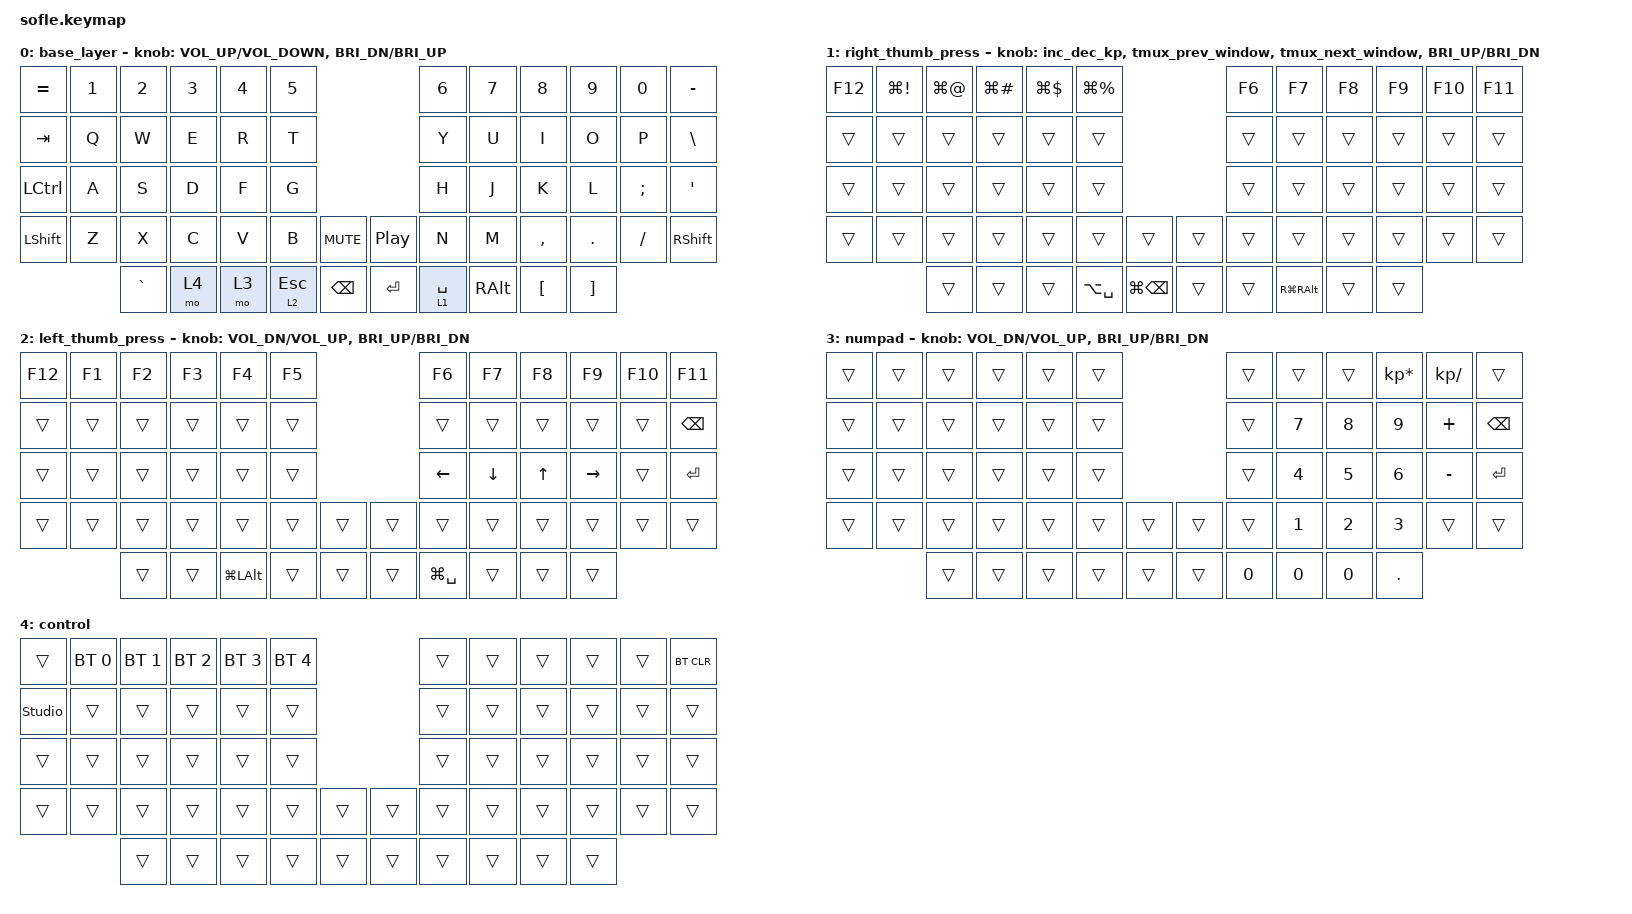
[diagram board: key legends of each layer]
/*
 * Copyright (c) 2020 The ZMK Contributors
 *
 * SPDX-License-Identifier: MIT
 */

#include <behaviors.dtsi>
#include <dt-bindings/zmk/bt.h>
#include <dt-bindings/zmk/keys.h>

&zephyr_udc0 {
    cdc_acm_uart: cdc_acm_uart { compatible = "zephyr,cdc-acm-uart"; };
};

&lt {
    tapping-term-ms = <170>;
    flavor = "balanced";
    require-prior-idle-ms = <150>;
    retro-tap;
};

&mt {
    flavor = "balanced";
    require-prior-idle-ms = <150>;
    tapping-term-ms = <170>;
};

/ {
    chosen { zmk,studio-rpc-uart = &cdc_acm_uart; };

    macros {
        swap: swapper {
            compatible = "zmk,behavior-tri-state";
            label = "SWAPPER";
            #binding-cells = <0>;
            bindings = <&kt LGUI>, <&kp TAB>, <&kt LGUI>;

            ignored-layers = <1 2>;
            ignored-key-positions = <12 36 49>;
        };

        tmux_prev_window: tmux_prev_window {
            compatible = "zmk,behavior-macro";
            #binding-cells = <0>;
            bindings = <&kp LC(SPACE) &kp P>;
            label = "TMUX_PREV_WINDOW";
        };

        tmux_next_window: tmux_next_window {
            compatible = "zmk,behavior-macro";
            #binding-cells = <0>;
            bindings = <&kp LC(SPACE) &kp N>;
            label = "TMUX_NEXT_WINDOW";
        };
    };

    combos {
        compatible = "zmk,combos";

        cmd-tab-quick-trigger {
            bindings = <&swap>;
            key-positions = <56 12>;
            layers = <0>;
            timeout-ms = <100>;
            require-prior-idle-ms = <0>;
        };

        hmr_lgui {
            bindings = <&kp LGUI>;
            key-positions = <28 27>;
            require-prior-idle-ms = <150>;
        };

        hmr_lalt {
            bindings = <&kp LALT>;
            key-positions = <27 26>;
            require-prior-idle-ms = <150>;
        };

        hmr_lgui_shift {
            bindings = <&kp LS(LGUI)>;
            key-positions = <26 27 28>;
            require-prior-idle-ms = <150>;
        };

        hmr_rgui {
            bindings = <&kp RGUI>;
            key-positions = <31 32>;
            require-prior-idle-ms = <150>;
        };

        hmr_ralt {
            bindings = <&kp RALT>;
            key-positions = <32 33>;
            require-prior-idle-ms = <150>;
        };

        hmr_rgui_rshift {
            bindings = <&kp RS(RGUI)>;
            key-positions = <31 32 33>;
            require-prior-idle-ms = <150>;
        };

        hmr_rSAG {
            bindings = <&kp RS(RA(RIGHT_GUI))>;
            key-positions = <31 32 33 34>;
            require-prior-idle-ms = <150>;
        };

        hmr_lSAG {
            bindings = <&kp LA(LS(LGUI))>;
            key-positions = <25 26 27 28>;
            require-prior-idle-ms = <150>;
        };
    };

    behaviors {
    };

    keymap {
        compatible = "zmk,keymap";

        base_layer {
            bindings = <
&kp EQUAL  &kp N1  &kp N2     &kp N3  &kp N4  &kp N5                             &kp N6       &kp N7         &kp N8     &kp N9    &kp N0    &kp MINUS
&kp TAB    &kp Q   &kp W      &kp E   &kp R   &kp T                              &kp Y        &kp U          &kp I      &kp O     &kp P     &kp BSLH
&kp LCTRL  &kp A   &kp S      &kp D   &kp F   &kp G                              &kp H        &kp J          &kp K      &kp L     &kp SEMI  &kp SQT
&kp LSHFT  &kp Z   &kp X      &kp C   &kp V   &kp B      &kp C_MUTE    &kp C_PP  &kp N        &kp M          &kp COMMA  &kp DOT   &kp FSLH  &kp RSHFT
                   &kp GRAVE  &mo 4   &mo 3   &lt 2 ESC  &kp BSPC      &kp RET   &lt 1 SPACE  &kp RIGHT_ALT  &kp LBKT   &kp RBKT
            >;

            sensor-bindings =
                <&inc_dec_kp C_VOLUME_UP C_VOLUME_DOWN>,
                <&inc_dec_kp C_BRI_DN C_BRI_UP>;
        };

        right_thumb_press {
            bindings = <
&kp F12  &kp LG(EXCL)  &kp LG(AT)  &kp LG(HASH)  &kp LG(DLLR)  &kp LG(PRCNT)                          &kp F6  &kp F7        &kp F8  &kp F9  &kp F10  &kp F11
&trans   &trans        &trans      &trans        &trans        &trans                                 &trans  &trans        &trans  &trans  &trans   &trans
&trans   &trans        &trans      &trans        &trans        &trans                                 &trans  &trans        &trans  &trans  &trans   &trans
&trans   &trans        &trans      &trans        &trans        &trans         &trans          &trans  &trans  &trans        &trans  &trans  &trans   &trans
                       &trans      &trans        &trans        &kp LA(SPACE)  &kp LG(BSPC)    &trans  &trans  &kp RG(RALT)  &trans  &trans
            >;

            sensor-bindings = <&inc_dec_kp &tmux_prev_window &tmux_next_window &inc_dec_kp C_BRI_UP C_BRI_DN>;
        };

        left_thumb_press {
            bindings = <
&kp F12  &kp F1  &kp F2  &kp F3  &kp F4            &kp F5                    &kp F6         &kp F7    &kp F8  &kp F9     &kp F10  &kp F11
&trans   &trans  &trans  &trans  &trans            &trans                    &trans         &trans    &trans  &trans     &trans   &kp BACKSPACE
&trans   &trans  &trans  &trans  &trans            &trans                    &kp LEFT       &kp DOWN  &kp UP  &kp RIGHT  &trans   &kp ENTER
&trans   &trans  &trans  &trans  &trans            &trans  &trans    &trans  &trans         &trans    &trans  &trans     &trans   &trans
                 &trans  &trans  &kp LG(LEFT_ALT)  &trans  &trans    &trans  &kp LG(SPACE)  &trans    &trans  &trans
            >;

            sensor-bindings = <&inc_dec_kp C_VOL_DN C_VOL_UP &inc_dec_kp C_BRI_UP C_BRI_DN>;
        };

        numpad {
            bindings = <
&trans  &trans  &trans  &trans  &trans  &trans                    &trans        &trans        &trans        &kp KP_MULTIPLY  &kp KP_DIVIDE  &trans
&trans  &trans  &trans  &trans  &trans  &trans                    &trans        &kp NUMBER_7  &kp NUMBER_8  &kp NUMBER_9     &kp PLUS       &kp BACKSPACE
&trans  &trans  &trans  &trans  &trans  &trans                    &trans        &kp NUMBER_4  &kp NUMBER_5  &kp NUMBER_6     &kp MINUS      &kp ENTER
&trans  &trans  &trans  &trans  &trans  &trans  &trans    &trans  &trans        &kp NUMBER_1  &kp NUMBER_2  &kp NUMBER_3     &trans         &trans
                &trans  &trans  &trans  &trans  &trans    &trans  &kp NUMBER_0  &kp NUMBER_0  &kp NUMBER_0  &kp DOT
            >;

            sensor-bindings = <&inc_dec_kp C_VOL_DN C_VOL_UP &inc_dec_kp C_BRI_UP C_BRI_DN>;
        };

        control {
            bindings = <
&trans          &bt BT_SEL 0  &bt BT_SEL 1  &bt BT_SEL 2  &bt BT_SEL 3  &bt BT_SEL 4                    &trans  &trans  &trans  &trans  &trans  &bt BT_CLR
&studio_unlock  &trans        &trans        &trans        &trans        &trans                          &trans  &trans  &trans  &trans  &trans  &trans
&trans          &trans        &trans        &trans        &trans        &trans                          &trans  &trans  &trans  &trans  &trans  &trans
&trans          &trans        &trans        &trans        &trans        &trans        &trans    &trans  &trans  &trans  &trans  &trans  &trans  &trans
                              &trans        &trans        &trans        &trans        &trans    &trans  &trans  &trans  &trans  &trans
            >;
        };
    };
};
